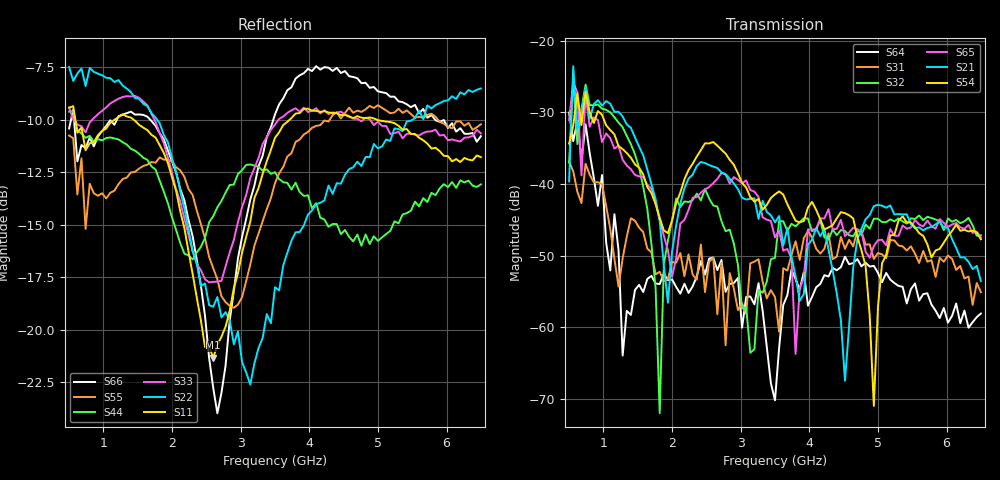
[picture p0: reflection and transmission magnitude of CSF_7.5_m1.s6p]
!Keysight Technologies,M9804A,MY58100912,A.14.10.03
!Date: Thursday, April 27, 2023 10:28:33
!Correction: S11(C  6-Port  )
!S12(C  6-Port  )
!S13(C  6-Port  )
!S14(C  6-Port  )
!S15(C  6-Port  )
!S16(C  6-Port  )
!S21(C  6-Port  )
!S22(C  6-Port  )
!S23(C  6-Port  )
!S24(C  6-Port  )
!S25(C  6-Port  )
!S26(C  6-Port  )
!S31(C  6-Port  )
!S32(C  6-Port  )
!S33(C  6-Port  )
!S34(C  6-Port  )
!S35(C  6-Port  )
!S36(C  6-Port  )
!S41(C  6-Port  )
!S42(C  6-Port  )
!S43(C  6-Port  )
!S44(C  6-Port  )
!S45(C  6-Port  )
!S46(C  6-Port  )
!S51(C  6-Port  )
!S52(C  6-Port  )
!S53(C  6-Port  )
!S54(C  6-Port  )
!S55(C  6-Port  )
!S56(C  6-Port  )
!S61(C  6-Port  )
!S62(C  6-Port  )
!S63(C  6-Port  )
!S64(C  6-Port  )
!S65(C  6-Port  )
!S66(C  6-Port  )
!S6P File: Measurement: :
# Hz S  RI  R 50
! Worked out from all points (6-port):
!   101 points, 500 MHz to 6.5 GHz, reference 50 ohm
!   strongest paths, dB at 500 MHz, 2 GHz, 3.5 GHz, 5 GHz, 6.5 GHz:
!     S54: -34.4, -45.1, -41.5, -57.2, -47.7
!     S21: -39.7, -49.4, -45.4, -42.9, -53.6
!     S65: -31.1, -53.0, -47.5, -47.9, -47.5
!     S32: -37.0, -45.1, -50.3, -44.9, -47.2
!     S31: -36.9, -50.9, -55.8, -49.7, -55.1
!     S64: -30.0, -53.3, -70.2, -52.4, -58.1
!   lowest |S11| = -21.3 dB at 2.6 GHz (marker M1), VSWR 1.19, Z = 42.4 + j2.24 ohm
!   |S11| at or under -10 dB: 590.2 MHz to 1.166 GHz (575.6 MHz wide, 65.6 % of centre); 1.438 GHz to 3.716 GHz (2.278 GHz wide, 88.4 % of centre); 4.98 GHz to end of sweep
